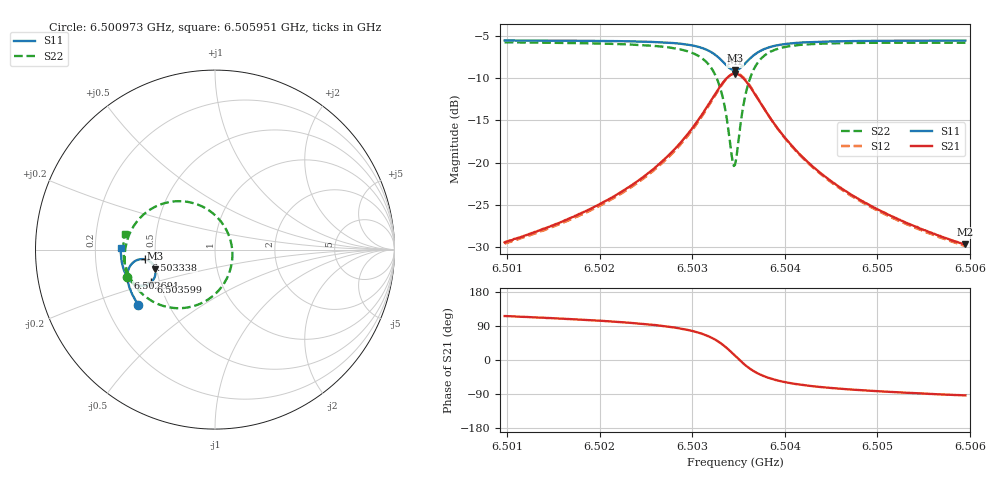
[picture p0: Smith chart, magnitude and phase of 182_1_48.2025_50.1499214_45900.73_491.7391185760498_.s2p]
#  HZ  S  RI  R  50.00
! Rohde & Schwarz Vector Network Analyzer
! Rohde-Schwarz,ZNB20-2Port,1311601062101988,3.16
! Created: UTC 3/20/2024, 11:44:10 AM
! freq[Hz]  re:S11  im:S11  re:S21  im:S21  re:S12  im:S12  re:S22  im:S22
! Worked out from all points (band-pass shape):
!   401 points, 6.500973 GHz to 6.505951 GHz, reference 50 ohm
!   highest |S21| = -9.50 dB at 6.503462 GHz (marker M1); lowest = -29.7 dB at 6.505951 GHz (marker M2)
!   |S21| within 3 dB of the highest: 6.503213 GHz to 6.503711 GHz (498.1 kHz wide, 0.00766 % of centre)
!   lowest |S11| = -9.1 dB at 6.503462 GHz (marker M3), VSWR 2.08, Z = 24.5 - j5.89 ohm
!   |S11| at or under -10 dB: nowhere
!   |S22| runs from -20.4 to -5.8 dB; largest |S21 - S12| = 0.012
!   S11 on the Smith chart (normalised r, x): 6.500973 GHz: 0.34, -0.29; 6.502691 GHz: 0.33, -0.14; 6.503338 GHz: 0.44, -0.06; 6.503599 GHz: 0.45, -0.19; 6.505951 GHz: 0.31, +0.01
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6.5009734e9  -0.4273 -0.3077  -0.0148 0.0304  -0.0131 0.0305  -0.4906 -0.1518
6.5018071e9  -0.463 -0.2458  -0.0142 0.0485  -0.0117 0.0479  -0.5034 -0.0627
6.5022302e9  -0.4778 -0.2084  -0.0115 0.066  -0.00859 0.0648  -0.5007 -0.0028
6.5026409e9  -0.4876 -0.1633  -0.00201 0.0978  0.0017 0.0955  -0.4797 0.0787
6.5026906e9  -0.4881 -0.1566  0.000534 0.1036  0.00423 0.1009  -0.4745 0.0917
6.502952e9  -0.4837 -0.1153  0.0271 0.1451  0.0308 0.1405  -0.4191 0.1747
6.5031386e9  -0.4618 -0.077  0.0824 0.1876  0.0847 0.1813  -0.3134 0.2477
6.5032506e9  -0.4286 -0.0565  0.1526 0.2051  0.1532 0.1987  -0.1867 0.2695
6.5033377e9  -0.3874 -0.055  0.2335 0.188  0.2336 0.1831  -0.0473 0.2273
6.5034248e9  -0.3452 -0.0838  0.3109 0.1141  0.3133 0.1096  0.0763 0.0815
6.5034497e9  -0.3372 -0.0979  0.3241 0.0826  0.3272 0.0774  0.0928 0.0222
6.5034622e9  -0.3345 -0.1055  0.3283 0.0659  0.3318 0.0602  0.0965 -0.00897
6.5034871e9  -0.3314 -0.1214  0.3318 0.0317  0.3355 0.0246  0.094 -0.0715
6.5035244e9  -0.3337 -0.1452  0.3246 -0.018  0.3276 -0.027  0.0667 -0.1595
6.503599e9  -0.3558 -0.1817  0.2783 -0.0934  0.2779 -0.1049  -0.0424 -0.2805
6.503711e9  -0.4009 -0.2012  0.1924 -0.1383  0.187 -0.1479  -0.2161 -0.3262
6.5038728e9  -0.4476 -0.1917  0.1096 -0.1346  0.1024 -0.1397  -0.3653 -0.2779
6.504047e9  -0.4752 -0.1703  0.0645 -0.114  0.0583 -0.1161  -0.4382 -0.212
6.5042959e9  -0.496 -0.1404  0.0343 -0.0891  0.0294 -0.0896  -0.4818 -0.139
6.5046817e9  -0.5119 -0.0999  0.0147 -0.065  0.0113 -0.0645  -0.5046 -0.0616
6.5051297e9  -0.521 -0.0583  0.00509 -0.0487  0.0029 -0.0479  -0.5105 0.0019
6.505951e9  -0.526 0.0113  -0.00194 -0.0328  -0.00342 -0.0319  -0.5028 0.0897
